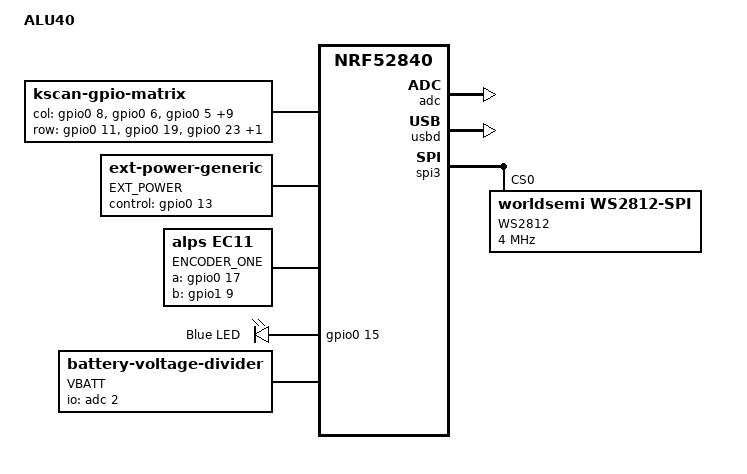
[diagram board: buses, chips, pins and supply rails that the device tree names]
/*
* Copyright (c) 2021 Polarity Works
*
* SPDX-License-Identifier: MIT
*/

/dts-v1/;
#include <nordic/nrf52840_qiaa.dtsi>
#include <dt-bindings/led/led.h>
#include <dt-bindings/zmk/matrix_transform.h>

#include "pinctrl.dtsi"

/ {
	model = "ALU40";
	compatible = "polarityworks,alu40";

	chosen {
		zephyr,code-partition = &code_partition;
		zephyr,sram = &sram0;
		zephyr,flash = &flash0;
		zmk,kscan = &kscan0;
		zmk,underglow = &led_strip;
		zmk,battery = &vbatt;
	};

	sensors {
		compatible = "zmk,keymap-sensors";
		sensors = <&encoder_1>;
		triggers-per-rotation = <18>;
	};

	kscan0: kscan_0 {
		compatible = "zmk,kscan-gpio-matrix";
		label = "KSCAN";
		diode-direction = "col2row";

		col-gpios
			= <&gpio0 8 GPIO_ACTIVE_HIGH>
			, <&gpio0 6 GPIO_ACTIVE_HIGH>
			, <&gpio0 5 GPIO_ACTIVE_HIGH>
			, <&gpio0 3 GPIO_ACTIVE_HIGH>
			, <&gpio0 2 GPIO_ACTIVE_HIGH>
			, <&gpio0 31 GPIO_ACTIVE_HIGH>
			, <&gpio0 30 GPIO_ACTIVE_HIGH>
			, <&gpio0 29 GPIO_ACTIVE_HIGH>
			, <&gpio0 28 GPIO_ACTIVE_HIGH>
			, <&gpio0 9 GPIO_ACTIVE_HIGH>
			, <&gpio0 10 GPIO_ACTIVE_HIGH>
			, <&gpio0 26 GPIO_ACTIVE_HIGH>
			;

		row-gpios
			= <&gpio0 11 (GPIO_ACTIVE_HIGH | GPIO_PULL_DOWN)>
			, <&gpio0 19 (GPIO_ACTIVE_HIGH | GPIO_PULL_DOWN)>
			, <&gpio0 23 (GPIO_ACTIVE_HIGH | GPIO_PULL_DOWN)>
			, <&gpio0 12 (GPIO_ACTIVE_HIGH | GPIO_PULL_DOWN)>
			;
	};

	ext-power {
		compatible = "zmk,ext-power-generic";
		label = "EXT_POWER";
		control-gpios = <&gpio0 13 GPIO_ACTIVE_HIGH>;
	};

	encoder_1: encoder_1 {
		compatible = "alps,ec11";
		label = "ENCODER_ONE";
		a-gpios = <&gpio0 17 (GPIO_ACTIVE_HIGH | GPIO_PULL_UP)>;
		b-gpios = <&gpio1 9 (GPIO_ACTIVE_HIGH | GPIO_PULL_UP)>;
		steps = <18>;
	};

	leds {
		compatible = "gpio-leds";
		blue_led: led_0 {
			gpios = <&gpio0 15 GPIO_ACTIVE_HIGH>;
			label = "Blue LED";
		};
	};

	vbatt: vbatt {
		compatible = "zmk,battery-voltage-divider";
		label = "VBATT";
		io-channels = <&adc 2>;
		output-ohms = <100000>;
		full-ohms = <(100000 + 100000)>;
	};
};

&adc {
	status = "okay";
};

&gpiote {
	status = "okay";
};

&gpio0 {
	status = "okay";
};

&gpio1 {
	status = "okay";
};

&usbd {
	status = "okay";
};


&flash0 {
	/*
	 * For more information, see:
	 * http://docs.zephyrproject.org/latest/devices/dts/flash_partitions.html
	 */
	partitions {
		compatible = "fixed-partitions";
		#address-cells = <1>;
		#size-cells = <1>;

		sd_partition: partition@0 {
			label = "softdevice";
			reg = <0x00000000 0x00026000>;
		};
		code_partition: partition@26000 {
			label = "code_partition";
			reg = <0x00026000 0x000c6000>;
		};

		/*
		 * The flash starting at 0x000ec000 and ending at
		 * 0x000f3fff is reserved for use by the application.
		 */

		/*
		 * Storage partition will be used by FCB/LittleFS/NVS
		 * if enabled.
		 */
		storage_partition: partition@ec000 {
			label = "storage";
			reg = <0x000ec000 0x00008000>;
		};

		boot_partition: partition@f4000 {
			label = "adafruit_boot";
			reg = <0x000f4000 0x0000c000>;
		};
	};
};

&spi3 {
	compatible = "nordic,nrf-spim";
	status = "okay";
	pinctrl-0 = <&spi3_default>;
	pinctrl-1 = <&spi3_sleep>;
	pinctrl-names = "default", "sleep";

	led_strip: ws2812@0 {
		compatible = "worldsemi,ws2812-spi";
		label = "WS2812";

		/* SPI */
		reg = <0>;
		spi-max-frequency = <4000000>;

		/* WS2812 */
		chain-length = <12>; /* number of LEDs */
		spi-one-frame = <0x70>;
		spi-zero-frame = <0x40>;
		color-mapping = <LED_COLOR_ID_GREEN
                   LED_COLOR_ID_RED
                   LED_COLOR_ID_BLUE>;
	};

};
